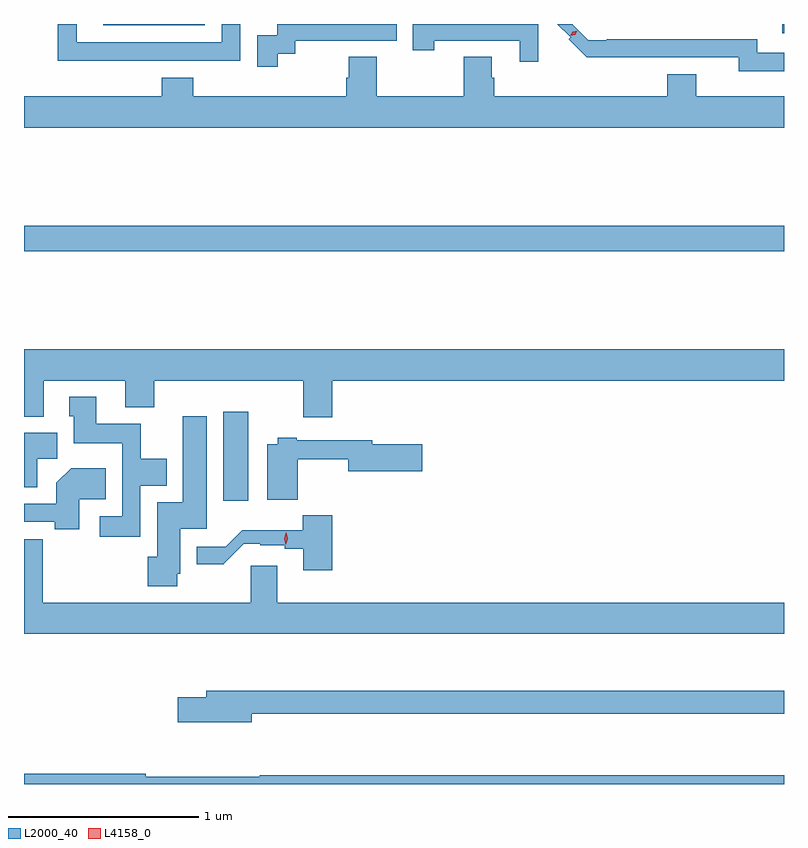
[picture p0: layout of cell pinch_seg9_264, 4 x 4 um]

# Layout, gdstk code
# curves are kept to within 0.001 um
import gdstk
lib = gdstk.Library(unit=1e-6, precision=1e-09)
def R(c, l, rs):  # rectangles x0, y0, x1, y1
    for r in rs: c.add(gdstk.rectangle(r[:2], r[2:], *l))
def P(c, l, *ps):  # polygons
    for p in ps: c.add(gdstk.Polygon(p, *l))
L2000_40 = (2000, 40)
L4158_0 = (4158, 0)

pinch_seg9_264 = lib.new_cell('pinch_seg9_264')
R(pinch_seg9_264, L2000_40, [(514.559,1223.76,514.69,1224.229), (513.51,1225.072,517.51,1225.208), (517.501,1226.22,517.51,1226.269), (513.927,1226.262,514.461,1226.269)])
P(pinch_seg9_264, L2000_40, [(514.846,1226.113),(514.938,1226.113),(514.938,1226.181),(515.472,1226.181),(515.472,1226.269),(514.842,1226.269),(514.842,1226.211),(514.737,1226.211),(514.737,1226.043),(514.846,1226.043)],
  [(517.51,1226.118),(517.368,1226.118),(517.368,1226.19),(516.577,1226.19),(516.577,1226.184),(516.48,1226.184),(516.399,1226.265),(516.399,1226.269),(516.316,1226.269),(516.387,1226.199),(516.376,1226.188),(516.472,1226.093),(517.272,1226.094),(517.272,1226.021),(517.51,1226.021)],
  [(514.151,1226.076),(514.647,1226.076),(514.647,1226.269),(514.551,1226.269),(514.551,1226.172),(513.787,1226.172),(513.787,1226.269),(513.688,1226.269),(513.688,1226.075),(514.151,1226.075)],
  [(516.216,1226.269),(515.557,1226.269),(515.557,1226.13),(515.668,1226.13),(515.668,1226.181),(516.119,1226.181),(516.119,1226.07),(516.216,1226.07)],
  [(517.51,1225.888),(517.048,1225.888),(517.048,1226.005),(516.895,1226.005),(516.895,1225.888),(515.984,1225.888),(515.984,1225.986),(515.971,1225.986),(515.971,1226.096),(515.824,1226.096),(515.824,1225.888),(515.367,1225.888),(515.367,1226.096),(515.219,1226.096),(515.219,1225.986),(515.207,1225.986),(515.207,1225.888),(514.4,1225.888),(514.4,1225.987),(514.235,1225.987),(514.235,1225.888),(513.51,1225.888),(513.51,1225.724),(517.51,1225.724)],
  [(515.132,1224.392),(517.51,1224.392),(517.51,1224.556),(513.51,1224.556),(513.51,1224.203),(513.613,1224.203),(513.613,1224.392),(514.043,1224.392),(514.043,1224.251),(514.196,1224.251),(514.196,1224.392),(514.979,1224.392),(514.979,1224.198),(515.132,1224.198)],
  [(514.122,1223.84),(514.261,1223.84),(514.261,1223.98),(514.125,1223.98),(514.125,1224.166),(513.889,1224.166),(513.889,1224.307),(513.749,1224.307),(513.749,1224.204),(513.773,1224.204),(513.773,1224.062),(514.026,1224.062),(514.026,1223.679),(513.909,1223.679),(513.909,1223.571),(514.122,1223.571)],
  [(514.317,1223.376),(514.333,1223.376),(514.333,1223.612),(514.471,1223.612),(514.471,1224.205),(514.346,1224.205),(514.346,1223.752),(514.211,1223.752),(514.211,1223.466),(514.16,1223.466),(514.16,1223.31),(514.317,1223.31)],
  [(513.58,1223.98),(513.685,1223.98),(513.685,1224.118),(513.51,1224.118),(513.51,1223.832),(513.58,1223.832)],
  [(514.952,1223.977),(515.216,1223.977),(515.216,1223.915),(515.605,1223.915),(515.605,1224.057),(515.344,1224.057),(515.344,1224.078),(514.945,1224.078),(514.945,1224.091),(514.845,1224.091),(514.845,1224.058),(514.79,1224.058),(514.79,1223.765),(514.952,1223.765)],
  [(513.802,1223.768),(513.941,1223.768),(513.941,1223.932),(513.758,1223.932),(513.68,1223.854),(513.68,1223.745),(513.51,1223.745),(513.51,1223.649),(513.673,1223.649),(513.673,1223.611),(513.802,1223.611)],
  [(515.132,1223.683),(514.977,1223.683),(514.977,1223.605),(514.659,1223.605),(514.571,1223.517),(514.418,1223.517),(514.418,1223.426),(514.56,1223.426),(514.666,1223.533),(514.754,1223.533),(514.754,1223.525),(514.883,1223.525),(514.883,1223.507),(514.979,1223.507),(514.979,1223.394),(515.132,1223.394)],
  [(517.51,1223.224),(514.843,1223.224),(514.843,1223.419),(514.704,1223.419),(514.704,1223.224),(513.608,1223.224),(513.608,1223.557),(513.51,1223.557),(513.51,1223.06),(517.51,1223.06)],
  [(514.708,1222.638),(517.51,1222.638),(517.51,1222.759),(514.469,1222.759),(514.469,1222.725),(514.32,1222.725),(514.32,1222.595),(514.708,1222.595)],
  [(517.51,1222.315),(514.75,1222.315),(514.75,1222.307),(514.15,1222.307),(514.15,1222.322),(513.51,1222.322),(513.51,1222.269),(517.51,1222.269)])
P(pinch_seg9_264, L4158_0, [(516.386,1226.206),(516.386,1226.206),(516.398,1226.228),(516.422,1226.234),(516.422,1226.234),(516.422,1226.234),(516.41,1226.212),(516.386,1226.206)],
  [(514.887,1223.527),(514.887,1223.527),(514.879,1223.561),(514.89,1223.595),(514.89,1223.595),(514.89,1223.595),(514.899,1223.56),(514.887,1223.527)])

lib.write_gds('pinch_seg9_264.gds')
